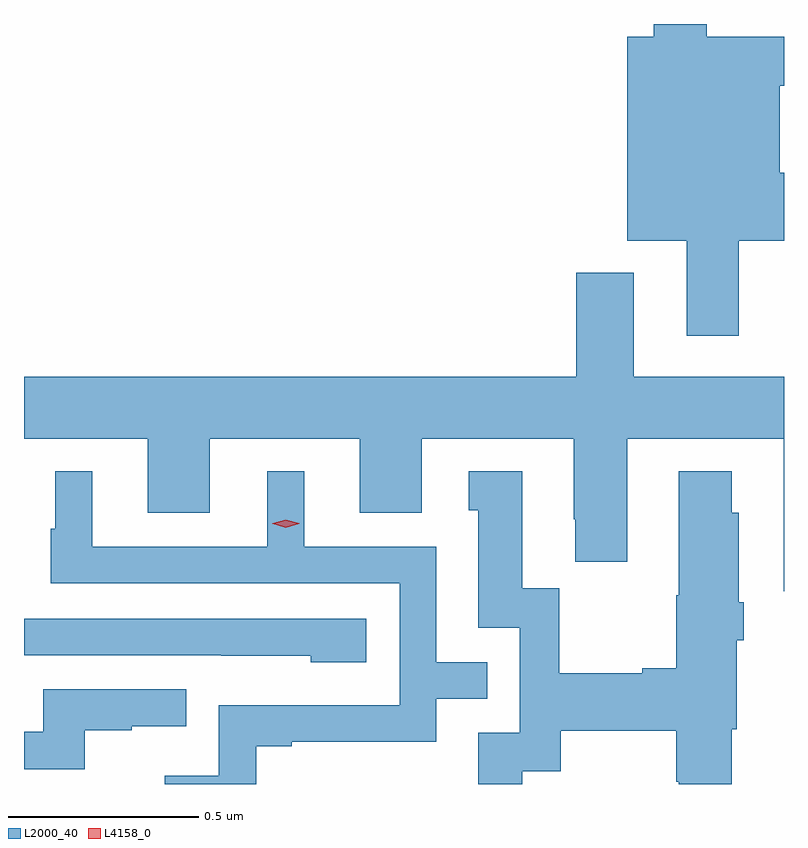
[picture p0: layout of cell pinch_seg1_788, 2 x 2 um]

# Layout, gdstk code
import gdstk
lib = gdstk.Library(unit=1e-6, precision=1e-09)
def P(c, l, *ps):  # polygons
    for p in ps: c.add(gdstk.Polygon(p, *l))
L2000_40 = (2000, 40)
L4158_0 = (4158, 0)

pinch_seg1_788 = lib.new_cell('pinch_seg1_788')
P(pinch_seg1_788, L2000_40, [(505.537,554.918),(505.656,554.918),(505.656,555.097),(505.645,555.097),(505.645,555.326),(505.656,555.326),(505.656,555.454),(505.453,555.454),(505.453,555.488),(505.313,555.488),(505.313,555.454),(505.244,555.454),(505.244,554.918),(505.4,554.918),(505.4,554.667),(505.537,554.667)],
  [(505.656,554.56),(505.261,554.56),(505.261,554.833),(505.109,554.833),(505.109,554.56),(503.656,554.56),(503.656,554.396),(503.981,554.396),(503.981,554.202),(504.145,554.202),(504.145,554.396),(504.539,554.396),(504.539,554.202),(504.703,554.202),(504.703,554.396),(505.103,554.396),(505.103,554.185),(505.106,554.185),(505.106,554.073),(505.243,554.073),(505.243,554.396),(505.655,554.396),(505.655,553.995),(505.656,553.995)],
  [(504.267,553.587),(504.361,553.587),(504.361,553.599),(504.741,553.599),(504.741,553.713),(504.875,553.713),(504.875,553.809),(504.741,553.809),(504.741,554.112),(504.394,554.112),(504.394,554.311),(504.296,554.311),(504.296,554.112),(503.836,554.112),(503.836,554.311),(503.738,554.311),(503.738,554.16),(503.727,554.16),(503.727,554.016),(504.645,554.016),(504.645,553.695),(504.168,553.695),(504.168,553.51),(504.027,553.51),(504.027,553.488),(504.267,553.488)],
  [(504.967,553.522),(505.069,553.522),(505.069,553.628),(505.372,553.628),(505.372,553.494),(505.379,553.494),(505.379,553.488),(505.519,553.488),(505.519,553.632),(505.532,553.632),(505.532,553.866),(505.55,553.866),(505.55,553.966),(505.537,553.966),(505.537,554.202),(505.519,554.202),(505.519,554.311),(505.379,554.311),(505.379,553.985),(505.372,553.985),(505.372,553.793),(505.283,553.793),(505.283,553.78),(505.065,553.78),(505.065,554.003),(504.967,554.003),(504.967,554.311),(504.827,554.311),(504.827,554.208),(504.851,554.208),(504.851,553.899),(504.96,553.899),(504.96,553.623),(504.851,553.623),(504.851,553.488),(504.967,553.488)],
  [(504.556,553.923),(503.656,553.923),(503.656,553.827),(504.175,553.827),(504.175,553.826),(504.411,553.826),(504.411,553.808),(504.556,553.808)],
  [(503.816,553.629),(503.939,553.629),(503.939,553.64),(504.083,553.64),(504.083,553.737),(503.706,553.737),(503.706,553.625),(503.656,553.625),(503.656,553.527),(503.816,553.527)])
P(pinch_seg1_788, L4158_0, [(504.345,554.163),(504.31,554.173),(504.309,554.173),(504.31,554.174),(504.345,554.183),(504.38,554.174),(504.38,554.173),(504.38,554.173)])

lib.write_gds('pinch_seg1_788.gds')
